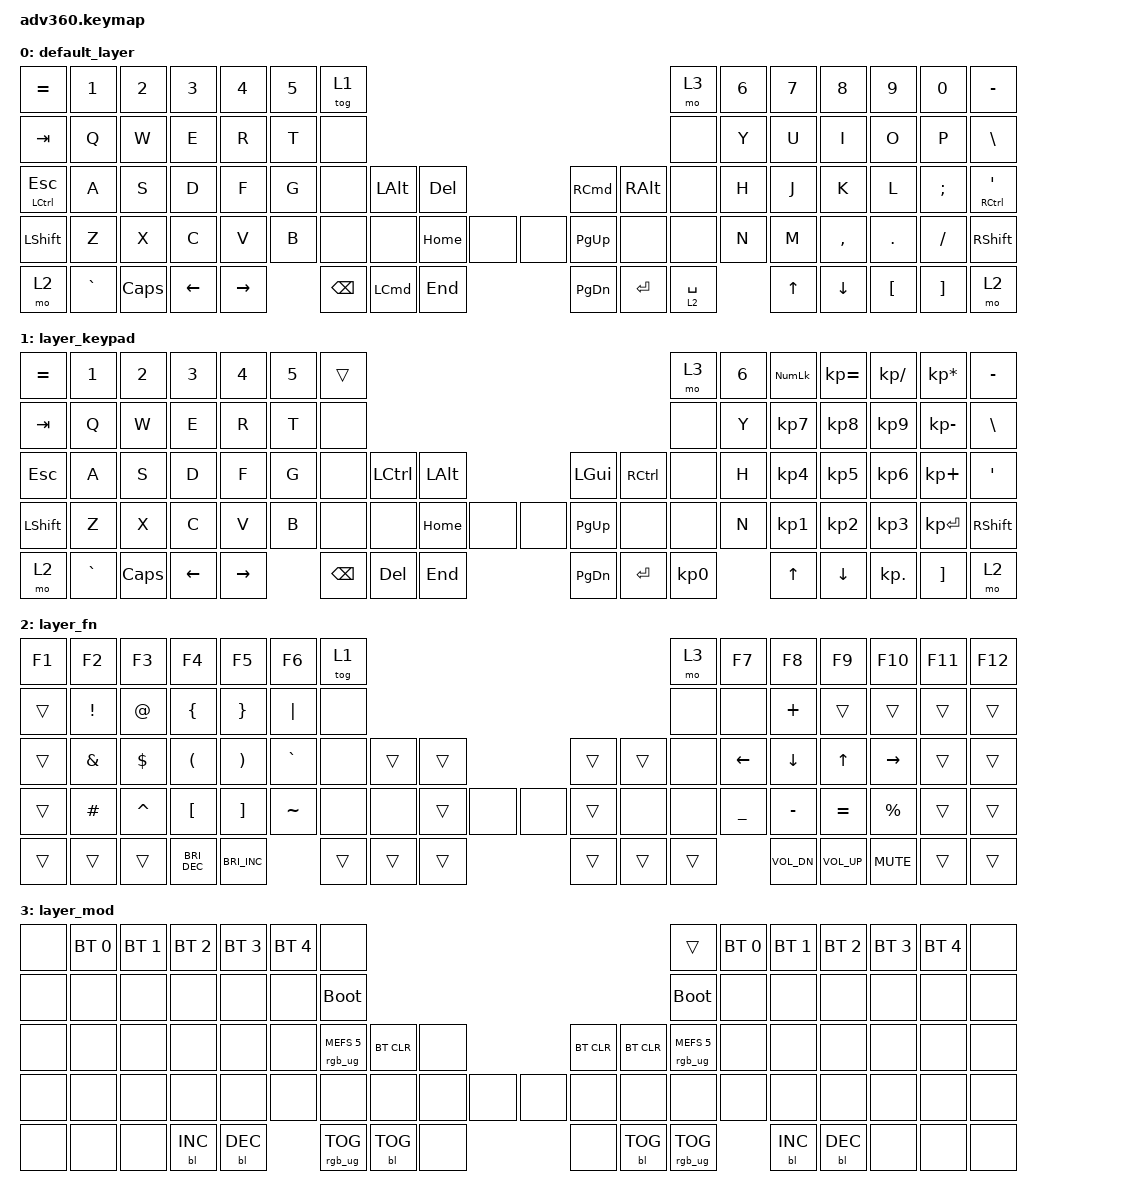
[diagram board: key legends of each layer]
/*
 * Copyright (c) 2020 The ZMK Contributors
 *
 * SPDX-License-Identifier: MIT
 */
/* THIS FILE WAS GENERATED!
 *
 * This file was generated automatically. You may or may not want to
 * edit it directly.
 */

#include <behaviors.dtsi>
#include <dt-bindings/zmk/backlight.h>
#include <dt-bindings/zmk/bt.h>
#include <dt-bindings/zmk/keys.h>
#include <dt-bindings/zmk/rgb.h>

&mt {
    tapping-term-ms = <210>;
    flavor = "tap-preferred";
};

&lt { quick_tap_ms = <200>; };

/ {
    behaviors {
        #include "macros.dtsi"

        hm: homerow_mods {
            compatible = "zmk,behavior-hold-tap";
            label = "HOMEROW_MODS";
            #binding-cells = <2>;
            tapping-term-ms = <200>;
            quick_tap_ms = <175>;
            flavor = "tap-preferred";
            bindings = <&kp>, <&kp>;
        };
    };

    combos {
        compatible = "zmk,combos";

        quick-switch-app {
            bindings = <&kp LG(GRAVE)>;
            key-positions = <34>;
        };
    };

    keymap {
        compatible = "zmk,keymap";

        default_layer {
            bindings = <
&kp EQUAL             &kp N1     &kp N2    &kp N3    &kp N4     &kp N5  &tog 1                                                                                     &mo 3        &kp N6  &kp N7  &kp N8     &kp N9            &kp N0             &kp MINUS
&kp TAB               &kp Q      &kp W     &kp E     &kp R      &kp T   &none                                                                                      &none        &kp Y   &kp U   &kp I      &kp O             &kp P              &kp BSLH
&mt LEFT_CONTROL ESC  &kp A      &kp S     &kp D     &kp F      &kp G   &none          &kp LEFT_ALT      &kp DEL                 &kp RIGHT_COMMAND  &kp RIGHT_ALT  &none        &kp H   &kp J   &kp K      &kp L             &kp SEMI           &mt RIGHT_CONTROL SINGLE_QUOTE
&kp LEFT_SHIFT        &kp Z      &kp X     &kp C     &kp V      &kp B   &none          &none             &kp HOME  &none  &none  &kp PG_UP          &none          &none        &kp N   &kp M   &kp COMMA  &kp DOT           &kp FSLH           &kp RSHFT
&mo 2                 &kp GRAVE  &kp CAPS  &kp LEFT  &kp RIGHT          &kp BACKSPACE  &kp LEFT_COMMAND  &kp END                 &kp PG_DN          &kp ENTER      &lt 2 SPACE          &kp UP  &kp DOWN   &kp LEFT_BRACKET  &kp RIGHT_BRACKET  &mo 2
            >;
        };

        layer_keypad {
            bindings = <
&kp EQUAL  &kp N1     &kp N2    &kp N3    &kp N4     &kp N5  &trans                                                             &mo 3      &kp N6  &kp KP_NUM  &kp KP_EQUAL  &kp KP_DIVIDE  &kp KP_MULTIPLY  &kp MINUS
&kp TAB    &kp Q      &kp W     &kp E     &kp R      &kp T   &none                                                              &none      &kp Y   &kp KP_N7   &kp KP_N8     &kp KP_N9      &kp KP_MINUS     &kp BSLH
&kp ESC    &kp A      &kp S     &kp D     &kp F      &kp G   &none     &kp LCTRL  &kp LALT                &kp LGUI   &kp RCTRL  &none      &kp H   &kp KP_N4   &kp KP_N5     &kp KP_N6      &kp KP_PLUS      &kp SQT
&kp LSHFT  &kp Z      &kp X     &kp C     &kp V      &kp B   &none     &none      &kp HOME  &none  &none  &kp PG_UP  &none      &none      &kp N   &kp KP_N1   &kp KP_N2     &kp KP_N3      &kp KP_ENTER     &kp RSHFT
&mo 2      &kp GRAVE  &kp CAPS  &kp LEFT  &kp RIGHT          &kp BSPC  &kp DEL    &kp END                 &kp PG_DN  &kp ENTER  &kp KP_N0          &kp UP      &kp DOWN      &kp KP_DOT     &kp RBKT         &mo 2
            >;
        };

        layer_fn {
            bindings = <
&kp F1  &kp F2           &kp F3      &kp F4                &kp F5                 &kp F6     &tog 1                                                &mo 3   &kp F7          &kp F8          &kp F9        &kp F10          &kp F11  &kp F12
&trans  &kp EXCLAMATION  &kp AT      &kp LEFT_BRACE        &kp RIGHT_BRACE        &kp PIPE   &none                                                 &none   &none           &kp PLUS        &trans        &trans           &trans   &trans
&trans  &kp AMPERSAND    &kp DOLLAR  &kp LEFT_PARENTHESIS  &kp RIGHT_PARENTHESIS  &kp GRAVE  &none   &trans  &trans                &trans  &trans  &none   &kp LEFT_ARROW  &kp DOWN_ARROW  &kp UP_ARROW  &kp RIGHT_ARROW  &trans   &trans
&trans  &kp POUND        &kp CARET   &kp LEFT_BRACKET      &kp RIGHT_BRACKET      &kp TILDE  &none   &none   &trans  &none  &none  &trans  &none   &none   &kp UNDERSCORE  &kp MINUS       &kp EQUAL     &kp PERCENT      &trans   &trans
&trans  &trans           &trans      &kp C_BRIGHTNESS_DEC  &kp C_BRIGHTNESS_INC              &trans  &trans  &trans                &trans  &trans  &trans                  &kp C_VOL_DN    &kp C_VOL_UP  &kp C_MUTE       &trans   &trans
            >;
        };

        layer_mod {
            bindings = <
&none  &bt BT_SEL 0  &bt BT_SEL 1  &bt BT_SEL 2  &bt BT_SEL 3  &bt BT_SEL 4  &none                                                                            &trans                  &bt BT_SEL 0  &bt BT_SEL 1  &bt BT_SEL 2  &bt BT_SEL 3  &bt BT_SEL 4  &none
&none  &none         &none         &none         &none         &none         &bootloader                                                                      &bootloader             &none         &none         &none         &none         &none         &none
&none  &none         &none         &none         &none         &none         &rgb_ug RGB_MEFS_CMD 5  &bt BT_CLR  &none                &bt BT_CLR  &bt BT_CLR  &rgb_ug RGB_MEFS_CMD 5  &none         &none         &none         &none         &none         &none
&none  &none         &none         &none         &none         &none         &none                   &none       &none  &none  &none  &none       &none       &none                   &none         &none         &none         &none         &none         &none
&none  &none         &none         &bl BL_INC    &bl BL_DEC                  &rgb_ug RGB_TOG         &bl BL_TOG  &none                &none       &bl BL_TOG  &rgb_ug RGB_TOG                       &bl BL_INC    &bl BL_DEC    &none         &none         &none
            >;
        };
    };
};
